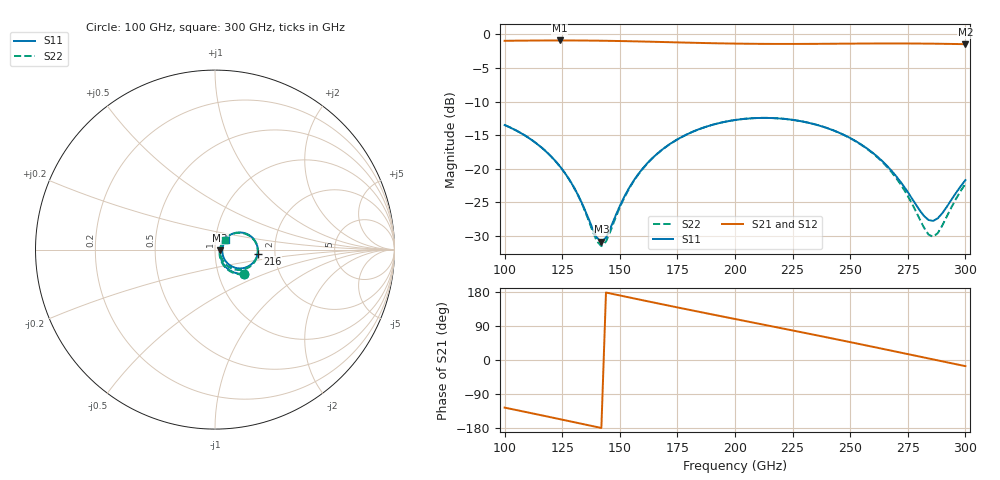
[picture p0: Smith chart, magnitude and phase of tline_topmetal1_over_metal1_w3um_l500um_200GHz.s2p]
#  GHZ S DB R 50
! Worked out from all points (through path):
!   101 points, 100 GHz to 300 GHz, reference 50 ohm
!   highest |S21| = -0.91 dB at 124 GHz (marker M1); lowest = -1.5 dB at 300 GHz (marker M2)
!   group delay of S21, straight-line fit = 3.46 ps
!   lowest |S11| = -30.9 dB at 142 GHz (marker M3), VSWR 1.06, Z = 52.9 - j0.334 ohm
!   |S11| at or under -10 dB: start of sweep to end of sweep
!   |S22| runs from -31.5 to -12.4 dB; largest |S21 - S12| = 1.5e-13
!   S11 on the Smith chart (normalised r, x): 100 GHz: 1.33, -0.37; 216 GHz: 1.62, -0.08; 300 GHz: 1.13, +0.12
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100  -13.50 -39.2  -0.96 -125.6  -0.96 -125.6  -13.48 -40.4
114  -16.28 -52.4  -0.92 -143.4  -0.92 -143.4  -16.27 -54.0
124  -19.65 -59.0  -0.91 -156.2  -0.91 -156.2  -19.65 -61.0
130  -22.70 -59.1  -0.91 -163.9  -0.91 -163.9  -22.74 -61.7
134  -25.45 -54.5  -0.92 -169.1  -0.92 -169.1  -25.56 -57.6
140  -30.24 -25.5  -0.94 -176.8  -0.94 -176.8  -30.77 -28.6
142  -30.87 -6.3  -0.95 -179.4  -0.95 -179.4  -31.53 -8.1
144  -30.25 12.7  -0.96 178.1  -0.96 178.1  -30.84 12.6
150  -25.54 41.4  -0.99 170.4  -0.99 170.4  -25.75 42.0
156  -21.78 46.6  -1.04 162.7  -1.04 162.7  -21.86 46.7
168  -17.26 41.2  -1.14 147.5  -1.14 147.5  -17.28 40.6
182  -14.44 28.8  -1.26 130.2  -1.26 130.2  -14.44 27.7
200  -12.75 10.8  -1.37 108.2  -1.37 108.2  -12.75 9.2
216  -12.46 -5.5  -1.42 88.9  -1.42 88.9  -12.45 -7.6
234  -13.34 -23.5  -1.41 67.0  -1.41 67.0  -13.33 -26.4
254  -16.23 -41.3  -1.37 42.2  -1.37 42.2  -16.26 -45.7
268  -20.32 -47.6  -1.36 24.5  -1.36 24.5  -20.53 -54.4
274  -22.97 -44.5  -1.36 16.8  -1.36 16.8  -23.46 -53.2
282  -27.02 -22.4  -1.38 6.7  -1.38 6.7  -28.75 -31.7
286  -27.76 0.0  -1.39 1.6  -1.39 1.6  -30.13 -2.5
290  -26.61 21.0  -1.41 -3.5  -1.41 -3.5  -28.44 25.1
300  -21.70 40.7  -1.46 -16.2  -1.46 -16.2  -22.26 44.9
